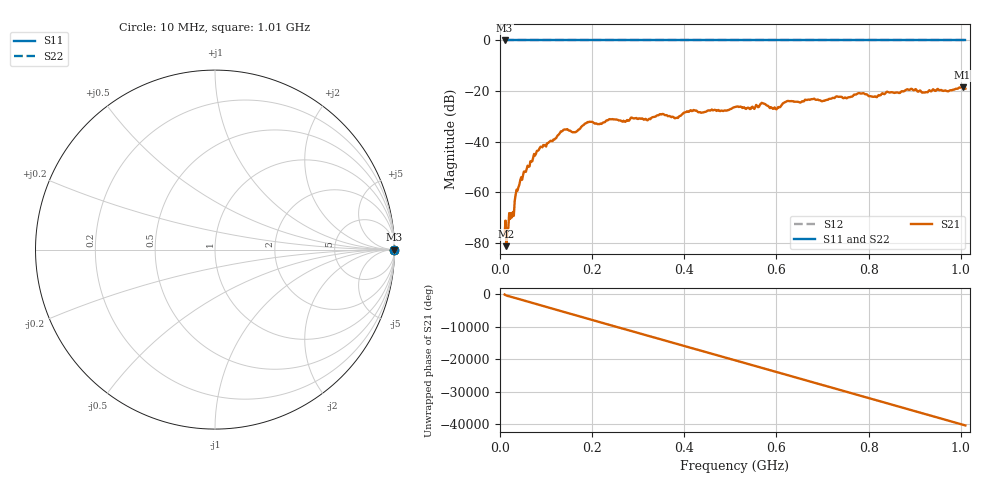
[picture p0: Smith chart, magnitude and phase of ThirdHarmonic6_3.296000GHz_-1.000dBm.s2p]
! 8/17/2025 10:15:54 AM
! C:\ANRITSUVNA\TEMP\TEMP.S2P
! CHANNEL.1
! TR.MEASUREMENT
! RAW.DATA
! RF.CORRECTION.OFF
! AVERAGING.OFF
! IF.BANDWIDTH: 5KHZ
! SWEEPTYPE:  FREQ.SWEEP(Linear)
! Reference Plane Port Info
! PORT:  PORT1  PORT2
! DISTANCE:  0  m  0  m
! TIME:  0  s  0  s
! PHASE.OFFSET:  0  deg.  0  deg.
! LOSS:  0  dB  0  dB
! REF.LOSS:  0  dB  0  dB
! REF.FREQ:  0  Hz  0  Hz
! Power Info
! POWER:  -20  dBm  -20  dBm
! EFF.POWER:  -20  dBm  -20  dBm
! SOURCE.ATTEN:  0  dB  0  dB
! TEST.ATTEN:  0  dB  0  dB
# GHZ S RI R 50.0
! FREQ.GHZ  S11RE  S11IM  S21RE  S21IM  S12RE  S12IM  S22RE  S22IM
!; PortSelection: Port_12
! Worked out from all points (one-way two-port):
!   501 points, 10 MHz to 1.01 GHz, reference 50 ohm
!   highest |S21| = -18.49 dB at 1.004 GHz (marker M1); lowest = -81.3 dB at 14 MHz (marker M2)
!   lowest |S11| = 0.0 dB at 10 MHz (marker M3)
!   |S11| at or under -10 dB: nowhere
!   |S22| runs from 0.0 to 0.0 dB; largest |S21 - S12| = 1.1
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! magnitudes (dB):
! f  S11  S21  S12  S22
! 10 MHz  0.0  -76.7  0.0  0.0
! 14 MHz  0.0  -81.3  0.0  0.0
! 26 MHz  0.0  -69.9  0.0  0.0
! 42 MHz  0.0  -57.0  0.0  0.0
! 78 MHz  0.0  -44.8  0.0  0.0
! 136 MHz  0.0  -35.7  0.0  0.0
! 162 MHz  0.0  -36.3  0.0  0.0
! 178 MHz  0.0  -33.8  0.0  0.0
! 194 MHz  0.0  -32.1  0.0  0.0
! 322 MHz  0.0  -31.2  0.0  0.0
! 344 MHz  0.0  -29.6  0.0  0.0
! 382 MHz  0.0  -30.6  0.0  0.0
! 416 MHz  0.0  -27.9  0.0  0.0
! 510 MHz  0.0  -26.3  0.0  0.0
! 570 MHz  0.0  -24.8  0.0  0.0
! 596 MHz  0.0  -26.5  0.0  0.0
! 622 MHz  0.0  -24.1  0.0  0.0
! 678 MHz  0.0  -23.2  0.0  0.0
! 814 MHz  0.0  -22.1  0.0  0.0
! 844 MHz  0.0  -20.5  0.0  0.0
! 1.004 GHz  0.0  -18.5  0.0  0.0
! 1.01 GHz  0.0  -19.1  0.0  0.0
